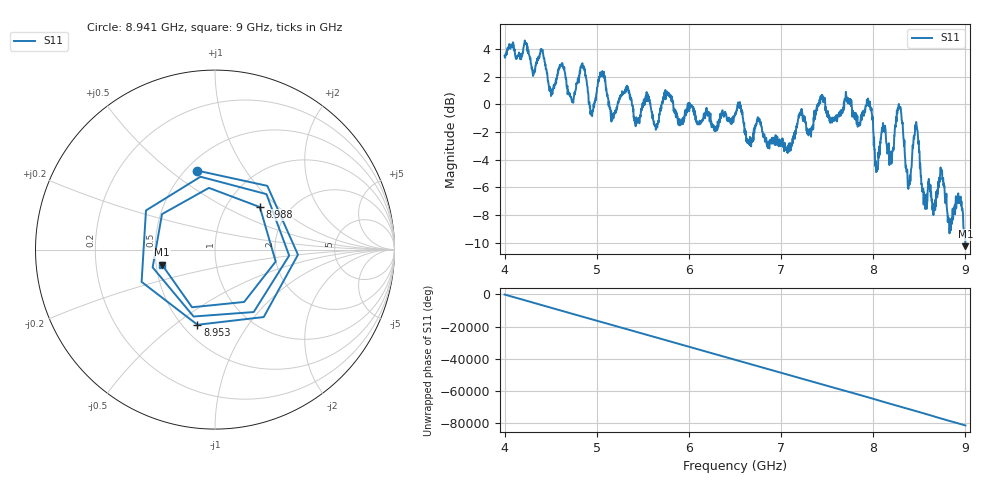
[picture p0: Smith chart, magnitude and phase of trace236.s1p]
! Created with skrf 1.8.0 (http://scikit-rf.org).
# Hz S RI R 50.0
!freq ReS11 ImS11
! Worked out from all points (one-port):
!   1601 points, 4 GHz to 9 GHz, reference 50 ohm
!   lowest |S11| = -10.3 dB at 9 GHz (marker M1), VSWR 1.89, Z = 26.9 - j4.99 ohm
!   |S11| at or under -10 dB: 8.999255 GHz to end of sweep
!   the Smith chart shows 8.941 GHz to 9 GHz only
!   S11 on the Smith chart (normalised r, x): 8.941 GHz: 0.57, +0.63; 8.953 GHz: 0.59, -0.61; 8.988 GHz: 1.42, +0.77; 9 GHz: 0.54, -0.10
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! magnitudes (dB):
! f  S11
! 4 GHz  3.5
! 4.406 GHz  3.9
! 4.503 GHz  0.6
! 4.625 GHz  3.0
! 4.731 GHz  0.2
! 4.847 GHz  2.8
! 4.947 GHz  -0.7
! 5.053 GHz  2.1
! 5.162 GHz  -0.7
! 5.25 GHz  0.4
! 5.875 GHz  -0.9
! 6.5 GHz  -0.8
! 7.125 GHz  -2.5
! 7.441 GHz  0.7
! 7.75 GHz  0.2
! 7.956 GHz  0.1
! 8.038 GHz  -4.7
! 8.109 GHz  -1.6
! 8.2 GHz  -4.2
! 8.281 GHz  -0.3
! 8.375 GHz  -5.9
! 8.462 GHz  -1.7
! 8.562 GHz  -6.9
! 8.738 GHz  -4.9
! 8.941 GHz  -6.9
! 8.953 GHz  -7.3
! 8.988 GHz  -9.3
! 9 GHz  -10.3
